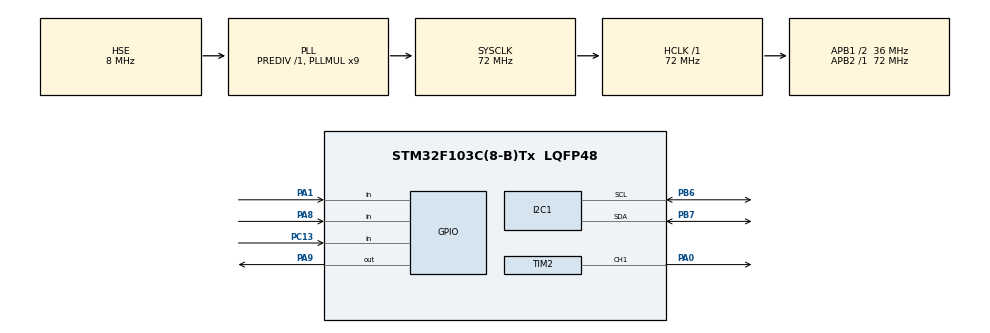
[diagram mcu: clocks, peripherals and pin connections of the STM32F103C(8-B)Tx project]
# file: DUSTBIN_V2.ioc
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I2C1.I2C_Mode=I2C_Fast
Mcu.Family=STM32F1
Mcu.Name=STM32F103C(8-B)Tx
Mcu.Package=LQFP48
NVIC.PriorityGroup=NVIC_PRIORITYGROUP_4
PA0-WKUP.Signal=S_TIM2_CH1_ETR
PA1.GPIO_PuPd=GPIO_PULLDOWN
PA1.Signal=GPIO_Input
PA13.Mode=Serial_Wire
PA13.Signal=SYS_JTMS-SWDIO
PA14.Mode=Serial_Wire
PA14.Signal=SYS_JTCK-SWCLK
PA8.Signal=GPIO_Input
PA9.Signal=GPIO_Output
PB6.Mode=I2C
PB6.Signal=I2C1_SCL
PB7.Mode=I2C
PB7.Signal=I2C1_SDA
PC13-TAMPER-RTC.GPIO_PuPd=GPIO_PULLDOWN
PC13-TAMPER-RTC.Signal=GPIO_Input
PD0-OSC_IN.Mode=HSE-External-Oscillator
PD0-OSC_IN.Signal=RCC_OSC_IN
PD1-OSC_OUT.Mode=HSE-External-Oscillator
PD1-OSC_OUT.Signal=RCC_OSC_OUT
ProjectManager.HeapSize=0x200
ProjectManager.StackSize=0x400
ProjectManager.TargetToolchain=MDK-ARM V5.32
RCC.AHBFreq_Value=72000000
RCC.APB1CLKDivider=RCC_HCLK_DIV2
RCC.APB1Freq_Value=36000000
RCC.APB1TimFreq_Value=72000000
RCC.APB2Freq_Value=72000000
RCC.APB2TimFreq_Value=72000000
RCC.HCLKFreq_Value=72000000
RCC.PLLMUL=RCC_PLL_MUL9
RCC.PLLSourceVirtual=RCC_PLLSOURCE_HSE
RCC.SYSCLKFreq_VALUE=72000000
RCC.SYSCLKSource=RCC_SYSCLKSOURCE_PLLCLK
RCC.USBFreq_Value=72000000
SH.S_TIM2_CH1_ETR.0=TIM2_CH1,PWM Generation1 CH1
TIM1.Prescaler=71
TIM2.Channel-PWM\ Generation1\ CH1=TIM_CHANNEL_1
TIM2.Period=1000-1
TIM2.Prescaler=900-1
VP_TIM1_VS_ClockSourceINT.Mode=Internal
VP_TIM2_VS_ClockSourceINT.Mode=Internal
board=custom

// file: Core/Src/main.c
/* USER CODE BEGIN Header */
/**
  ******************************************************************************
  * @file           : main.c
  * @brief          : Main program body
  ******************************************************************************
  * @attention
  *
  * Copyright (c) 2024 STMicroelectronics.
  * All rights reserved.
  *
  * This software is licensed under terms that can be found in the LICENSE file
  * in the root directory of this software component.
  * If no LICENSE file comes with this software, it is provided AS-IS.
  *
  ******************************************************************************
  */
/* USER CODE END Header */
#include "main.h"

/* USER CODE BEGIN Includes */
#include "ssd1306.h"
#include "fonts.h"
#include "stdio.h"
#include "bitmap.h"
#include "horse_anim.h"
/* USER CODE END Includes */

/* USER CODE BEGIN PD */
#define TRIG_PIN GPIO_PIN_9
#define TRIG_PORT GPIOA
#define ECHO_PIN GPIO_PIN_8
#define ECHO_PORT GPIOA
#define BOX_HEIGHT 10    // Total box height in cm
#define MIN_DISTANCE 1   // Minimum detectable distance in cm
#define MAX_DISTANCE 10  // Maximum box height in cm

/* USER CODE END PD */

I2C_HandleTypeDef hi2c1;

TIM_HandleTypeDef htim1;
TIM_HandleTypeDef htim2;

/* USER CODE BEGIN PV */
uint32_t distance = 0;
uint8_t obstacle_level = 0;
/* USER CODE END PV */

void SystemClock_Config(void);
static void MX_GPIO_Init(void);
static void MX_I2C1_Init(void);
static void MX_TIM1_Init(void);
static void MX_TIM2_Init(void);
/* USER CODE BEGIN PFP */
void delay_us(uint16_t us);
uint32_t measure_distance(void);
uint8_t calculate_obstacle_level(uint32_t dist);
/* USER CODE END PFP */

/* USER CODE BEGIN 0 */
void delay_us(uint16_t us)
{
    __HAL_TIM_SET_COUNTER(&htim1, 0);
    while (__HAL_TIM_GET_COUNTER(&htim1) < us);
}

uint32_t measure_distance(void)
{
    uint32_t duration = 0;

    // Trigger pulse
    HAL_GPIO_WritePin(TRIG_PORT, TRIG_PIN, GPIO_PIN_SET);
    delay_us(10);
    HAL_GPIO_WritePin(TRIG_PORT, TRIG_PIN, GPIO_PIN_RESET);

    // Wait for echo high
    uint32_t timeout = 10000; // Timeout to prevent infinite loop
    while(HAL_GPIO_ReadPin(ECHO_PORT, ECHO_PIN) == GPIO_PIN_RESET) {
        if(timeout-- == 0) return 0; // Timeout
    }

    // Start timer
    __HAL_TIM_SET_COUNTER(&htim1, 0);

    // Wait for echo low
    timeout = 10000;
    while(HAL_GPIO_ReadPin(ECHO_PORT, ECHO_PIN) == GPIO_PIN_SET) {
        if(timeout-- == 0) return 0; // Timeout
    }

    // Calculate duration
    duration = __HAL_TIM_GET_COUNTER(&htim1);

    // Convert to distance (cm)
    // Speed of sound ˜ 343 m/s = 34300 cm/s
    // Distance = (Duration * Speed) / 2
    return duration * 0.034 / 2;
}

uint8_t calculate_obstacle_level(uint32_t dist)
{
    // If distance is less than or equal to minimum distance, consider it 100% full
    if (dist <= MIN_DISTANCE) return 100;

    // If distance is greater than or equal to box height, consider it 0% full
    if (dist >= BOX_HEIGHT) return 0;

    // Linear interpolation between MIN_DISTANCE and BOX_HEIGHT
    // As distance increases from MIN_DISTANCE to BOX_HEIGHT, level decreases from 100% to 0%
    return (uint8_t)(100 - ((dist - MIN_DISTANCE) * 100 / (BOX_HEIGHT - MIN_DISTANCE)));
}
/* USER CODE END 0 */
uint32_t bin_open_timestamp = 0;
int main(void)
{

  /* MCU Configuration--------------------------------------------------------*/

  /* Reset of all peripherals, Initializes the Flash interface and the Systick. */
  HAL_Init();

  /* Configure the system clock */
  SystemClock_Config();

  /* Initialize all configured peripherals */
  MX_GPIO_Init();
  MX_I2C1_Init();
  MX_TIM1_Init();
  MX_TIM2_Init();
  /* USER CODE BEGIN 2 */
  SSD1306_Init (); // initialise the display
	HAL_TIM_Base_Start(&htim1);
	HAL_TIM_PWM_Start(&htim2, TIM_CHANNEL_1);
  uint8_t bin_open = 0;  // Variable to track whether the bin is open
	/* USER CODE END 2 */
	htim2.Instance->CCR1 = 125;
  /* Infinite loop */
  while (1)
  {
// Measure distance
    distance = measure_distance();

    // Validate distance
    if (distance > 0 && distance <= BOX_HEIGHT) {
        // Calculate obstacle level
        obstacle_level = calculate_obstacle_level(distance);

        // Update OLED
        SSD1306_Clear();
        SSD1306_GotoXY(0,0);
				SSD1306_Puts(bin_open ? "Bin Opened" : "Bin Closed", &Font_11x18, 1);
				SSD1306_UpdateScreen();
        // Prepare level string
        char level_str[20];
        sprintf(level_str, "Level %d%%", obstacle_level);
        SSD1306_GotoXY(0, 20);
        SSD1306_Puts(level_str, &Font_11x18, 1);

        // Optional: Display actual distance
        char dist_str[20];
        sprintf(dist_str, "Dist: %d cm", distance);
        SSD1306_GotoXY(0, 40);
        SSD1306_Puts(dist_str, &Font_11x18, 1);

        SSD1306_UpdateScreen();
    }
        // Check if the IR sensor is triggered
        if (HAL_GPIO_ReadPin(GPIOA, GPIO_PIN_1) == GPIO_PIN_RESET && !bin_open)
        {
            // Bin opening logic
            bin_open = 1;
            bin_open_timestamp = HAL_GetTick(); // Record the current time
            HAL_GPIO_WritePin(GPIOC, GPIO_PIN_13, GPIO_PIN_RESET); // Turn on LED
            htim2.Instance->CCR1 = 200; // Rotate servo to open position
        }

        // Check if the bin has been open long enough
        if (bin_open && (HAL_GetTick() - bin_open_timestamp >= 5000)) // 5 seconds
        {
            // Bin closing logic
            htim2.Instance->CCR1 = 125; // Rotate servo to closed position
            HAL_GPIO_WritePin(GPIOC, GPIO_PIN_13, GPIO_PIN_SET); // Turn off LED
            bin_open = 0; // Mark the bin as closed
        }

        HAL_Delay(100); // Short delay for stability
  }
}

void SystemClock_Config(void)
{
  RCC_OscInitTypeDef RCC_OscInitStruct = {0};
  RCC_ClkInitTypeDef RCC_ClkInitStruct = {0};

  /** Initializes the RCC Oscillators according to the specified parameters
  * in the RCC_OscInitTypeDef structure.
  */
  RCC_OscInitStruct.OscillatorType = RCC_OSCILLATORTYPE_HSE;
  RCC_OscInitStruct.HSEState = RCC_HSE_ON;
  RCC_OscInitStruct.HSEPredivValue = RCC_HSE_PREDIV_DIV1;
  RCC_OscInitStruct.HSIState = RCC_HSI_ON;
  RCC_OscInitStruct.PLL.PLLState = RCC_PLL_ON;
  RCC_OscInitStruct.PLL.PLLSource = RCC_PLLSOURCE_HSE;
  RCC_OscInitStruct.PLL.PLLMUL = RCC_PLL_MUL9;
  if (HAL_RCC_OscConfig(&RCC_OscInitStruct) != HAL_OK)
  {
    Error_Handler();
  }

  /** Initializes the CPU, AHB and APB buses clocks
  */
  RCC_ClkInitStruct.ClockType = RCC_CLOCKTYPE_HCLK|RCC_CLOCKTYPE_SYSCLK
                              |RCC_CLOCKTYPE_PCLK1|RCC_CLOCKTYPE_PCLK2;
  RCC_ClkInitStruct.SYSCLKSource = RCC_SYSCLKSOURCE_PLLCLK;
  RCC_ClkInitStruct.AHBCLKDivider = RCC_SYSCLK_DIV1;
  RCC_ClkInitStruct.APB1CLKDivider = RCC_HCLK_DIV2;
  RCC_ClkInitStruct.APB2CLKDivider = RCC_HCLK_DIV1;

  if (HAL_RCC_ClockConfig(&RCC_ClkInitStruct, FLASH_LATENCY_2) != HAL_OK)
  {
    Error_Handler();
  }
}

static void MX_I2C1_Init(void)
{

  hi2c1.Instance = I2C1;
  hi2c1.Init.ClockSpeed = 400000;
  hi2c1.Init.DutyCycle = I2C_DUTYCYCLE_2;
  hi2c1.Init.OwnAddress1 = 0;
  hi2c1.Init.AddressingMode = I2C_ADDRESSINGMODE_7BIT;
  hi2c1.Init.DualAddressMode = I2C_DUALADDRESS_DISABLE;
  hi2c1.Init.OwnAddress2 = 0;
  hi2c1.Init.GeneralCallMode = I2C_GENERALCALL_DISABLE;
  hi2c1.Init.NoStretchMode = I2C_NOSTRETCH_DISABLE;
  if (HAL_I2C_Init(&hi2c1) != HAL_OK)
  {
    Error_Handler();
  }

}

static void MX_TIM1_Init(void)
{

  TIM_ClockConfigTypeDef sClockSourceConfig = {0};
  TIM_MasterConfigTypeDef sMasterConfig = {0};

  htim1.Instance = TIM1;
  htim1.Init.Prescaler = 71;
  htim1.Init.CounterMode = TIM_COUNTERMODE_UP;
  htim1.Init.Period = 65535;
  htim1.Init.ClockDivision = TIM_CLOCKDIVISION_DIV1;
  htim1.Init.RepetitionCounter = 0;
  htim1.Init.AutoReloadPreload = TIM_AUTORELOAD_PRELOAD_DISABLE;
  if (HAL_TIM_Base_Init(&htim1) != HAL_OK)
  {
    Error_Handler();
  }
  sClockSourceConfig.ClockSource = TIM_CLOCKSOURCE_INTERNAL;
  if (HAL_TIM_ConfigClockSource(&htim1, &sClockSourceConfig) != HAL_OK)
  {
    Error_Handler();
  }
  sMasterConfig.MasterOutputTrigger = TIM_TRGO_RESET;
  sMasterConfig.MasterSlaveMode = TIM_MASTERSLAVEMODE_DISABLE;
  if (HAL_TIMEx_MasterConfigSynchronization(&htim1, &sMasterConfig) != HAL_OK)
  {
    Error_Handler();
  }

}

static void MX_TIM2_Init(void)
{

  TIM_ClockConfigTypeDef sClockSourceConfig = {0};
  TIM_MasterConfigTypeDef sMasterConfig = {0};
  TIM_OC_InitTypeDef sConfigOC = {0};

  htim2.Instance = TIM2;
  htim2.Init.Prescaler = 900-1;
  htim2.Init.CounterMode = TIM_COUNTERMODE_UP;
  htim2.Init.Period = 1000-1;
  htim2.Init.ClockDivision = TIM_CLOCKDIVISION_DIV1;
  htim2.Init.AutoReloadPreload = TIM_AUTORELOAD_PRELOAD_DISABLE;
  if (HAL_TIM_Base_Init(&htim2) != HAL_OK)
  {
    Error_Handler();
  }
  sClockSourceConfig.ClockSource = TIM_CLOCKSOURCE_INTERNAL;
  if (HAL_TIM_ConfigClockSource(&htim2, &sClockSourceConfig) != HAL_OK)
  {
    Error_Handler();
  }
  if (HAL_TIM_PWM_Init(&htim2) != HAL_OK)
  {
    Error_Handler();
  }
  sMasterConfig.MasterOutputTrigger = TIM_TRGO_RESET;
  sMasterConfig.MasterSlaveMode = TIM_MASTERSLAVEMODE_DISABLE;
  if (HAL_TIMEx_MasterConfigSynchronization(&htim2, &sMasterConfig) != HAL_OK)
  {
    Error_Handler();
  }
  sConfigOC.OCMode = TIM_OCMODE_PWM1;
  sConfigOC.Pulse = 0;
  sConfigOC.OCPolarity = TIM_OCPOLARITY_HIGH;
  sConfigOC.OCFastMode = TIM_OCFAST_DISABLE;
  if (HAL_TIM_PWM_ConfigChannel(&htim2, &sConfigOC, TIM_CHANNEL_1) != HAL_OK)
  {
    Error_Handler();
  }
  HAL_TIM_MspPostInit(&htim2);

}

static void MX_GPIO_Init(void)
{
  GPIO_InitTypeDef GPIO_InitStruct = {0};

  /* GPIO Ports Clock Enable */
  __HAL_RCC_GPIOC_CLK_ENABLE();
  __HAL_RCC_GPIOD_CLK_ENABLE();
  __HAL_RCC_GPIOA_CLK_ENABLE();
  __HAL_RCC_GPIOB_CLK_ENABLE();

  /*Configure GPIO pin Output Level */
  HAL_GPIO_WritePin(GPIOA, GPIO_PIN_9, GPIO_PIN_RESET);

  /*Configure GPIO pin : PC13 */
  GPIO_InitStruct.Pin = GPIO_PIN_13;
  GPIO_InitStruct.Mode = GPIO_MODE_INPUT;
  GPIO_InitStruct.Pull = GPIO_PULLDOWN;
  HAL_GPIO_Init(GPIOC, &GPIO_InitStruct);

  /*Configure GPIO pin : PA1 */
  GPIO_InitStruct.Pin = GPIO_PIN_1;
  GPIO_InitStruct.Mode = GPIO_MODE_INPUT;
  GPIO_InitStruct.Pull = GPIO_PULLDOWN;
  HAL_GPIO_Init(GPIOA, &GPIO_InitStruct);

  /*Configure GPIO pin : PA8 */
  GPIO_InitStruct.Pin = GPIO_PIN_8;
  GPIO_InitStruct.Mode = GPIO_MODE_INPUT;
  GPIO_InitStruct.Pull = GPIO_NOPULL;
  HAL_GPIO_Init(GPIOA, &GPIO_InitStruct);

  /*Configure GPIO pin : PA9 */
  GPIO_InitStruct.Pin = GPIO_PIN_9;
  GPIO_InitStruct.Mode = GPIO_MODE_OUTPUT_PP;
  GPIO_InitStruct.Pull = GPIO_NOPULL;
  GPIO_InitStruct.Speed = GPIO_SPEED_FREQ_LOW;
  HAL_GPIO_Init(GPIOA, &GPIO_InitStruct);

}

void Error_Handler(void)
{
  __disable_irq();
  while (1)
  {
  }
}
